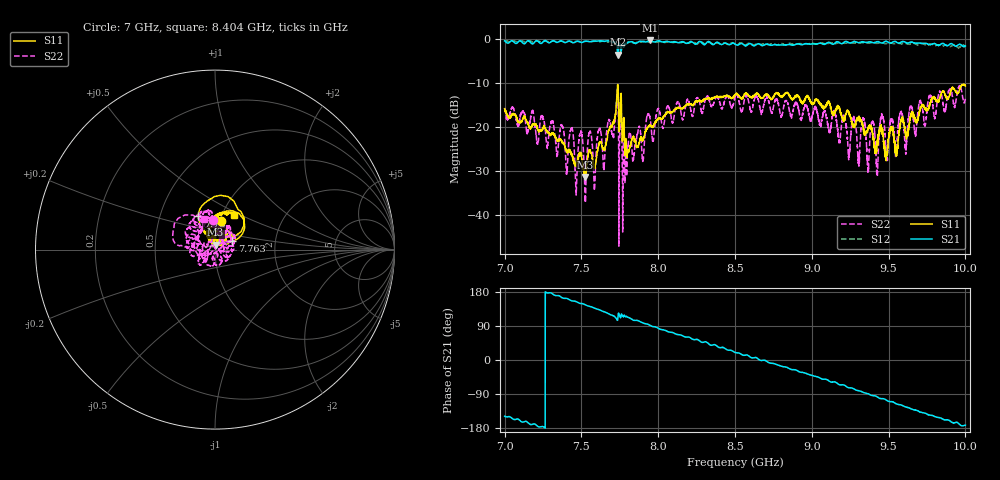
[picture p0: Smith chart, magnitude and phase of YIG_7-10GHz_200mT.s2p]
#  HZ  S  RI  R  50.0
! Rohde & Schwarz ZVL13 2Ports - Version 3.31 - 1303.6509k13 SN: 101088
! Date: 2023-03-06 15:26:01
! Data & Calibration Information:
! Trc4:S11(TOSM) Trc2:S21(TOSM) Trc3:S12(TOSM) Trc5:S22(TOSM)
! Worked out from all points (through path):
!   4000 points, 7 GHz to 10 GHz, reference 50 ohm
!   highest |S21| = -0.36 dB at 7.945 GHz (marker M1); lowest = -3.6 dB at 7.737 GHz (marker M2)
!   group delay of S21, straight-line fit = 357 ps
!   lowest |S11| = -31.3 dB at 7.527 GHz (marker M3), VSWR 1.06, Z = 50.3 + j2.72 ohm
!   |S11| at or under -10 dB: start of sweep to end of sweep
!   |S22| runs from -47.0 to -10.6 dB; largest |S21 - S12| = 0.11
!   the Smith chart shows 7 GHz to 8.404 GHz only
!   S11 on the Smith chart (normalised r, x): 7 GHz: 1.02, +0.33; 7.73 GHz: 0.78, +0.31; 7.763 GHz: 1.21, +0.11; 8.404 GHz: 1.14, +0.47
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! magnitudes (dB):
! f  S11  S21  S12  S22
! 7 GHz  -15.8  -0.4  -0.5  -15.8
! 7.374 GHz  -23.2  -0.5  -0.5  -19.9
! 7.404 GHz  -25.5  -0.7  -0.6  -30.7
! 7.436 GHz  -26.1  -0.7  -0.6  -20.4
! 7.467 GHz  -29.0  -0.6  -0.6  -34.8
! 7.5 GHz  -26.0  -0.8  -0.6  -21.1
! 7.527 GHz  -31.3  -0.5  -0.6  -36.5
! 7.554 GHz  -25.2  -0.7  -0.6  -21.0
! 7.586 GHz  -29.2  -0.5  -0.5  -33.9
! 7.614 GHz  -23.7  -0.5  -0.7  -20.4
! 7.647 GHz  -25.1  -0.6  -0.5  -29.3
! 7.73 GHz  -13.5  -1.2  -1.5  -13.5
! 7.737 GHz  -10.8  -3.6  -3.5  -12.8
! 7.763 GHz  -19.4  -1.5  -1.5  -22.1
! 7.796 GHz  -26.5  -0.9  -0.8  -29.8
! 7.945 GHz  -19.7  -0.4  -0.7  -17.6
! 8 GHz  -18.0  -0.4  -0.7  -15.8
! 8.404 GHz  -13.1  -1.2  -1.2  -14.8
! 8.5 GHz  -12.7  -1.2  -1.2  -13.2
! 9 GHz  -14.5  -1.2  -1.0  -17.8
! 9.5 GHz  -22.5  -0.8  -0.9  -22.4
! 10 GHz  -10.6  -1.6  -1.8  -13.6
